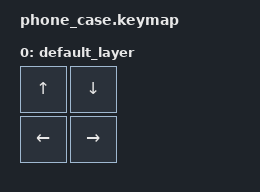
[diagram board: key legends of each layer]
/*
 * Copyright (c) 2024 The ZMK Contributors
 *
 * SPDX-License-Identifier: MIT
 */

#include <behaviors.dtsi>
#include <dt-bindings/zmk/keys.h>
#include <dt-bindings/zmk/bt.h>
#include <dt-bindings/zmk/outputs.h>

/ {
    keymap {
        compatible = "zmk,keymap";

        default_layer {
            // 矩阵按键绑定，按照 2x2 矩阵的顺序
            // row 1: UP, DOWN
            // row 2: LEFT, RIGHT
            bindings = <
                &kp UP    &kp DOWN
                &kp LEFT  &kp RIGHT
            >;
        };
    };
};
